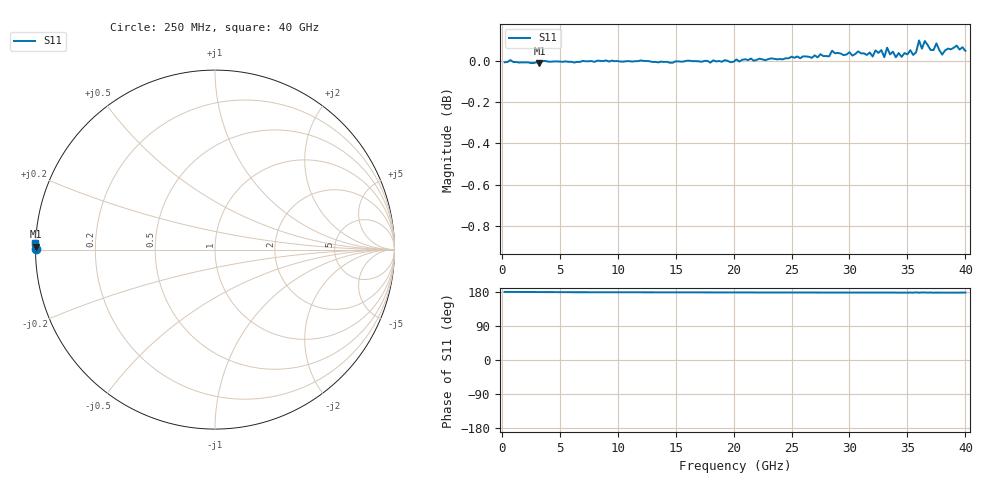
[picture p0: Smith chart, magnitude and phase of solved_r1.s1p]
!Created with skrf (http://scikit-rf.org).
# GHz S RI R 50.0
!freq ReS11 ImS11
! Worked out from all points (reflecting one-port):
!   160 points, 250 MHz to 40 GHz, reference 50 ohm
!   lowest |S11| = 0.0 dB at 3.25 GHz (marker M1)
!   phase of S11 starts at 180 deg and turns -2 deg over the sweep
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0.25  -0.9994 0.00336
3.25  -0.9988 0.0155
5.25  -0.9995 0.017
10.25  -0.9995 0.0227
15.25  -0.9995 0.0272
20.25  -1.001 0.0307
25.25  -1.001 0.0323
28.25  -1.002 0.0345
28.5  -1.005 0.0345
30.25  -1.003 0.0355
32.75  -1.006 0.0378
33  -1.002 0.0372
33.25  -1.007 0.036
34.5  -1.002 0.0371
35.25  -1.005 0.0366
35.5  -1.003 0.0411
35.75  -1.005 0.0266
36  -1.011 0.04
36.25  -1.007 0.0316
36.5  -1.011 0.0304
36.75  -1.008 0.0414
37  -1.006 0.032
37.25  -1.005 0.0426
37.5  -1.009 0.0377
38  -1.003 0.0402
38.25  -1.005 0.0369
39.25  -1.008 0.04
40  -1.005 0.0365
